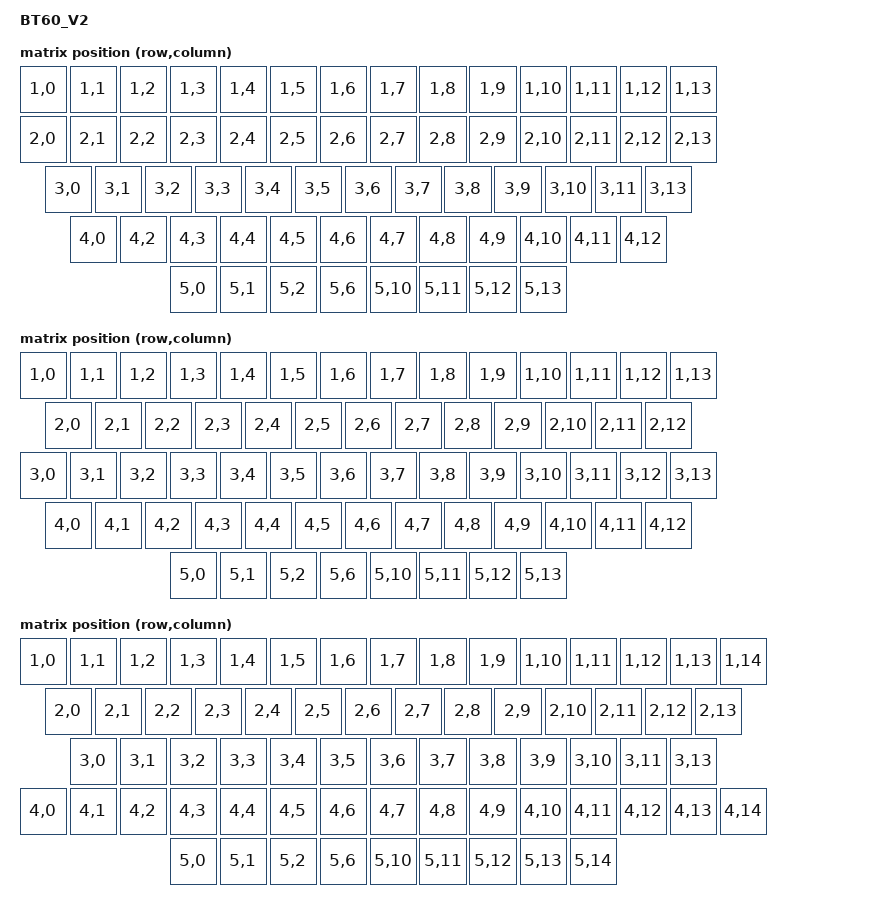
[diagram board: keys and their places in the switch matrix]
/*
* Copyright (c) 2022 The ZMK Contributors
*
* SPDX-License-Identifier: MIT
*/

/dts-v1/;
#include "ckp.dtsi"


/ {
  model = "BT60_V2";
  compatible = "polarityworks,bt60_v2";

  chosen {
    zmk,matrix-transform = &ansi_transform;
  };


  ansi_transform: keymap_transform_0 {
    compatible = "zmk,matrix-transform";
    columns = <15>;
    rows = <5>;
    map = <
      RC(1,0) RC(1,1) RC(1,2) RC(1,3) RC(1,4) RC(1,5) RC(1,6) RC(1,7) RC(1,8) RC(1,9) RC(1,10) RC(1,11) RC(1,12)  RC(1,13)
      RC(2,0)   RC(2,1) RC(2,2) RC(2,3) RC(2,4) RC(2,5) RC(2,6) RC(2,7) RC(2,8) RC(2,9) RC(2,10) RC(2,11) RC(2,12)   RC(2,13)
      RC(3,0)     RC(3,1) RC(3,2) RC(3,3) RC(3,4) RC(3,5) RC(3,6) RC(3,7) RC(3,8) RC(3,9) RC(3,10) RC(3,11)      RC(3,13)
      RC(4,0)       RC(4,2) RC(4,3) RC(4,4) RC(4,5) RC(4,6) RC(4,7) RC(4,8) RC(4,9) RC(4,10)  RC(4,11)       RC(4,12)
      RC(5,0)   RC(5,1)   RC(5,2)                      RC(5,6)                     RC(5,10)   RC(5,11)    RC(5,12)   RC(5,13)
    >;
  };

  iso_transform: keymap_transform_1 {
    compatible = "zmk,matrix-transform";
    columns = <15>;
    rows = <5>;
    map = <
      RC(1,0) RC(1,1) RC(1,2) RC(1,3) RC(1,4) RC(1,5) RC(1,6) RC(1,7) RC(1,8) RC(1,9) RC(1,10) RC(1,11) RC(1,12)   RC(1,13)
      RC(2,0)   RC(2,1) RC(2,2) RC(2,3) RC(2,4) RC(2,5) RC(2,6) RC(2,7) RC(2,8) RC(2,9) RC(2,10) RC(2,11) RC(2,12)
      RC(3,0)     RC(3,1) RC(3,2) RC(3,3) RC(3,4) RC(3,5) RC(3,6) RC(3,7) RC(3,8) RC(3,9) RC(3,10) RC(3,11) RC(3,12)  RC(3,13)
      RC(4,0) RC(4,1) RC(4,2) RC(4,3) RC(4,4) RC(4,5) RC(4,6) RC(4,7) RC(4,8) RC(4,9) RC(4,10)  RC(4,11)         RC(4,12)
      RC(5,0)   RC(5,1)   RC(5,2)                      RC(5,6)                     RC(5,10)   RC(5,11)    RC(5,12)     RC(5,13)
    >;
  };

  all_1u_transform: keymap_transform_2 {
    compatible = "zmk,matrix-transform";
    columns = <15>;
    rows = <5>;
    map = <
      RC(1,0) RC(1,1) RC(1,2) RC(1,3) RC(1,4) RC(1,5) RC(1,6) RC(1,7) RC(1,8) RC(1,9) RC(1,10) RC(1,11) RC(1,12) RC(1,13) RC(1,14)
      RC(2,0)   RC(2,1) RC(2,2) RC(2,3) RC(2,4) RC(2,5) RC(2,6) RC(2,7) RC(2,8) RC(2,9) RC(2,10) RC(2,11) RC(2,12)   RC(2,13)
      RC(3,0)     RC(3,1) RC(3,2) RC(3,3) RC(3,4) RC(3,5) RC(3,6) RC(3,7) RC(3,8) RC(3,9) RC(3,10) RC(3,11)       RC(3,13)
      RC(4,0) RC(4,1) RC(4,2) RC(4,3) RC(4,4) RC(4,5) RC(4,6) RC(4,7) RC(4,8) RC(4,9) RC(4,10) RC(4,11) RC(4,12) RC(4,13) RC(4,14)
      RC(5,0)   RC(5,1)   RC(5,2)                      RC(5,6)                        RC(5,10) RC(5,11) RC(5,12) RC(5,13) RC(5,14)
    >;
  };

  hhkb_transform: keymap_transform_3 {
    compatible = "zmk,matrix-transform";
    columns = <15>;
    rows = <5>;
    map = <
      RC(1,0) RC(1,1) RC(1,2) RC(1,3) RC(1,4) RC(1,5) RC(1,6) RC(1,7) RC(1,8) RC(1,9) RC(1,10) RC(1,11) RC(1,12)     RC(1,13)
      RC(2,0)   RC(2,1) RC(2,2) RC(2,3) RC(2,4) RC(2,5) RC(2,6) RC(2,7) RC(2,8) RC(2,9) RC(2,10) RC(2,11) RC(2,12)   RC(2,13)
      RC(3,0)     RC(3,1) RC(3,2) RC(3,3) RC(3,4) RC(3,5) RC(3,6) RC(3,7) RC(3,8) RC(3,9) RC(3,10) RC(3,11)      RC(3,13)
      RC(4,0)       RC(4,2) RC(4,3) RC(4,4) RC(4,5) RC(4,6) RC(4,7) RC(4,8) RC(4,9) RC(4,10)  RC(4,11)        RC(4,12)
      RC(5,0)    RC(5,1)    RC(5,2)                       RC(5,6)                     RC(5,11)      RC(5,12)       RC(5,13)
    >;
  };
};
